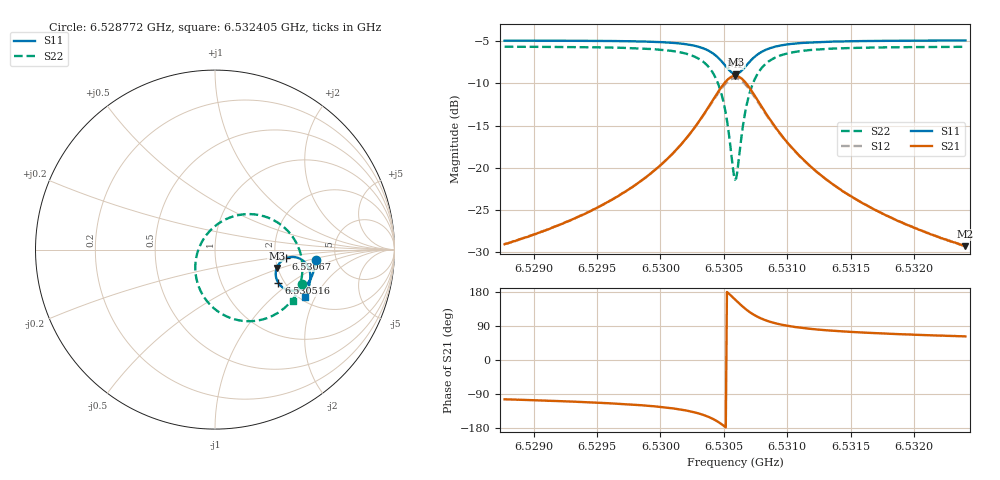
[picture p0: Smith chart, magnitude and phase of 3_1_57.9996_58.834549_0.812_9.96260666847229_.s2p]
#  HZ  S  RI  R  50.00
! Rohde & Schwarz Vector Network Analyzer
! Rohde-Schwarz,ZNB20-2Port,1311601062101988,3.16
! Created: UTC 3/21/2024, 12:50:21 AM
! freq[Hz]  re:S11  im:S11  re:S21  im:S21  re:S12  im:S12  re:S22  im:S22
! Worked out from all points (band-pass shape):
!   401 points, 6.528772 GHz to 6.532405 GHz, reference 50 ohm
!   highest |S21| = -9.13 dB at 6.530589 GHz (marker M1); lowest = -29.3 dB at 6.532405 GHz (marker M2)
!   |S21| within 3 dB of the highest: 6.530409 GHz to 6.530771 GHz (363 kHz wide, 0.00556 % of centre)
!   lowest |S11| = -8.9 dB at 6.530598 GHz (marker M3), VSWR 2.12, Z = 98.8 - j23.3 ohm
!   |S11| at or under -10 dB: nowhere
!   |S22| runs from -21.4 to -5.7 dB; largest |S21 - S12| = 0.015
!   S11 on the Smith chart (normalised r, x): 6.528772 GHz: 3.48, -0.58; 6.530516 GHz: 1.86, -0.82; 6.53067 GHz: 2.28, -0.27; 6.532405 GHz: 2.11, -1.65
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6.5287721e9  0.5612 -0.0566  -0.00843 -0.0343  -0.00923 -0.0343  0.4831 -0.1901
6.5293806e9  0.552 -0.1096  -0.0186 -0.0489  -0.0199 -0.0487  0.4505 -0.2522
6.5297167e9  0.5414 -0.1435  -0.0319 -0.0642  -0.0336 -0.0635  0.4161 -0.2969
6.5299892e9  0.5245 -0.1763  -0.0559 -0.0849  -0.0584 -0.0833  0.3621 -0.3445
6.5302071e9  0.4944 -0.2088  -0.1034 -0.109  -0.1068 -0.1051  0.2665 -0.3891
6.5303615e9  0.4444 -0.2286  -0.1841 -0.1165  -0.1867 -0.1083  0.1191 -0.3909
6.5304524e9  0.3923 -0.22  -0.2659 -0.0833  -0.2642 -0.0714  -0.0162 -0.3177
6.5304887e9  0.3686 -0.204  -0.3012 -0.0486  -0.2961 -0.0362  -0.0688 -0.2519
6.530516e9  0.3529 -0.1852  -0.3232 -0.0115  -0.3151 0.00023  -0.0976 -0.1853
6.5305705e9  0.3383 -0.1319  -0.3366 0.0858  -0.3233 0.0925  -0.0996 -0.0222
6.5305886e9  0.3411 -0.1123  -0.3282 0.1203  -0.3143 0.1245  -0.0788 0.0322
6.5305977e9  0.344 -0.1027  -0.3212 0.1367  -0.3076 0.1395  -0.0645 0.0578
6.5306159e9  0.3526 -0.0851  -0.3032 0.1671  -0.2899 0.1675  -0.0292 0.1037
6.5306704e9  0.3937 -0.0492  -0.2263 0.2261  -0.2172 0.2221  0.108 0.1868
6.5307067e9  0.424 -0.0415  -0.1725 0.2386  -0.1664 0.2339  0.1995 0.1976
6.530743e9  0.4505 -0.043  -0.1266 0.2358  -0.1225 0.2315  0.2764 0.1847
6.5308611e9  0.503 -0.0726  -0.0382 0.1908  -0.0367 0.189  0.4196 0.0882
6.5309883e9  0.5236 -0.1065  -0.00263 0.1449  -0.00154 0.1442  0.4713 -0.0049
6.5311972e9  0.5313 -0.147  0.0144 0.0989  0.0154 0.0985  0.4874 -0.1003
6.5314515e9  0.5285 -0.1813  0.0182 0.0694  0.0194 0.0692  0.4808 -0.1673
6.5318057e9  0.5191 -0.2174  0.0181 0.048  0.019 0.0478  0.4637 -0.2243
6.5324052e9  0.499 -0.2664  0.0161 0.0305  0.0166 0.0302  0.4329 -0.2856
